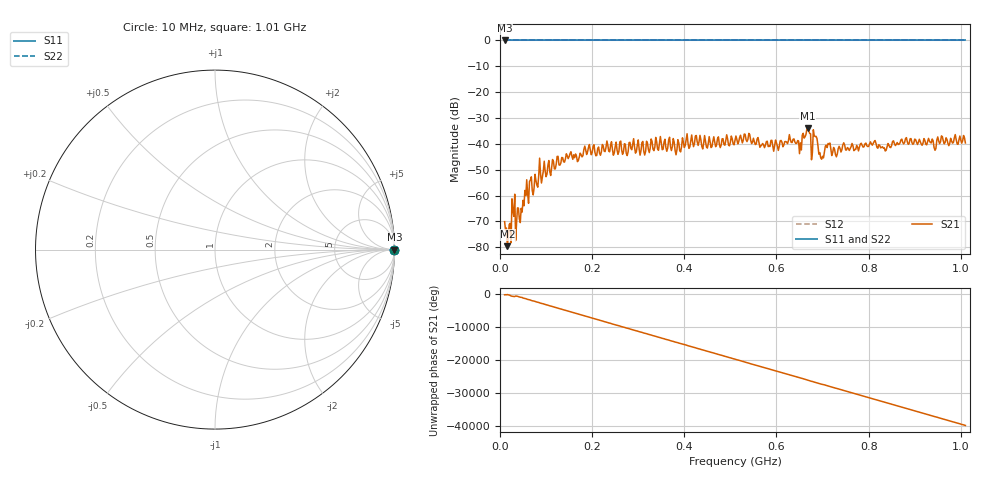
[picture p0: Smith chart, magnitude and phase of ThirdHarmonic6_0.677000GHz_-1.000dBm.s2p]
! 8/15/2025 10:34:16 PM
! C:\ANRITSUVNA\TEMP\TEMP.S2P
! CHANNEL.1
! TR.MEASUREMENT
! RAW.DATA
! RF.CORRECTION.OFF
! AVERAGING.OFF
! IF.BANDWIDTH: 5KHZ
! SWEEPTYPE:  FREQ.SWEEP(Linear)
! Reference Plane Port Info
! PORT:  PORT1  PORT2
! DISTANCE:  0  m  0  m
! TIME:  0  s  0  s
! PHASE.OFFSET:  0  deg.  0  deg.
! LOSS:  0  dB  0  dB
! REF.LOSS:  0  dB  0  dB
! REF.FREQ:  0  Hz  0  Hz
! Power Info
! POWER:  -20  dBm  -20  dBm
! EFF.POWER:  -20  dBm  -20  dBm
! SOURCE.ATTEN:  0  dB  0  dB
! TEST.ATTEN:  0  dB  0  dB
# GHZ S RI R 50.0
! FREQ.GHZ  S11RE  S11IM  S21RE  S21IM  S12RE  S12IM  S22RE  S22IM
!; PortSelection: Port_12
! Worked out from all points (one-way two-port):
!   501 points, 10 MHz to 1.01 GHz, reference 50 ohm
!   highest |S21| = -33.87 dB at 668 MHz (marker M1); lowest = -79.6 dB at 16 MHz (marker M2)
!   lowest |S11| = 0.0 dB at 10 MHz (marker M3)
!   |S11| at or under -10 dB: nowhere
!   |S22| runs from 0.0 to 0.0 dB; largest |S21 - S12| = 1
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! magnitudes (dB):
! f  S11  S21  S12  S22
! 10 MHz  0.0  -70.1  0.0  0.0
! 16 MHz  0.0  -79.6  0.0  0.0
! 20 MHz  0.0  -71.2  0.0  0.0
! 28 MHz  0.0  -65.8  0.0  0.0
! 38 MHz  0.0  -64.8  0.0  0.0
! 48 MHz  0.0  -66.4  0.0  0.0
! 54 MHz  0.0  -58.0  0.0  0.0
! 88 MHz  0.0  -51.7  0.0  0.0
! 178 MHz  0.0  -45.1  0.0  0.0
! 344 MHz  0.0  -42.5  0.0  0.0
! 510 MHz  0.0  -38.6  0.0  0.0
! 604 MHz  0.0  -42.5  0.0  0.0
! 632 MHz  0.0  -39.4  0.0  0.0
! 650 MHz  0.0  -43.8  0.0  0.0
! 668 MHz  0.0  -33.9  0.0  0.0
! 678 MHz  0.0  -43.4  0.0  0.0
! 684 MHz  0.0  -37.1  0.0  0.0
! 698 MHz  0.0  -46.0  0.0  0.0
! 712 MHz  0.0  -39.9  0.0  0.0
! 730 MHz  0.0  -45.0  0.0  0.0
! 844 MHz  0.0  -40.5  0.0  0.0
! 1.01 GHz  0.0  -39.7  0.0  0.0
